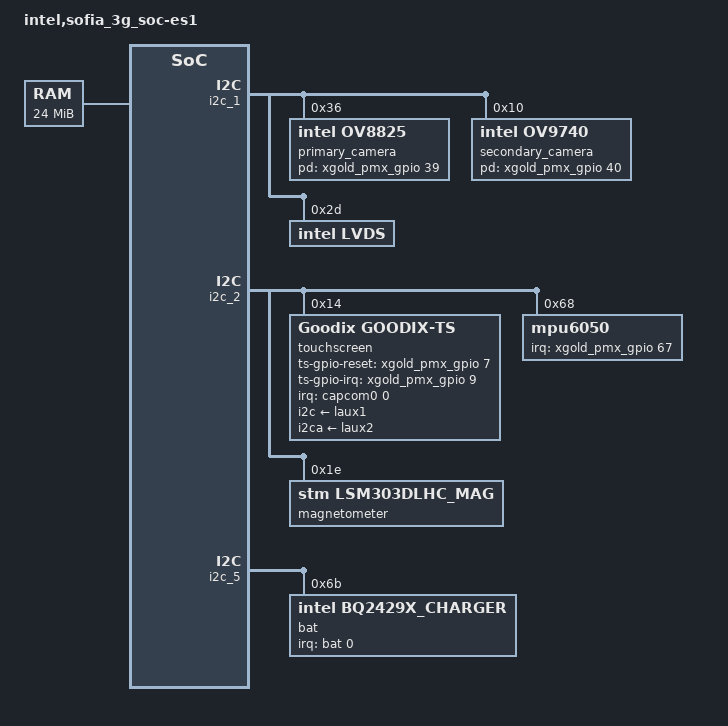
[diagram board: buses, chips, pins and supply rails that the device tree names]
/dts-v1/;

#include "xgold/sofia_3g_soc/irq.h"

#define SF_3G_TAB
/ {
	#address-cells = <1>;
	#size-cells = <1>;
	model = "intel,sofia_3g_soc-es1";
	compatible = "intel,sofia_3g_soc-svb", "intel,xgold";

	#include "xgold/sofia_3g_soc/sofia_3g_soc.dtsi"
	#include "xgold/sofia_3g_soc/irq.dtsi"
	#include "xgold/sofia_3g_soc/clock-es1.dtsi"
	#include "xgold/sofia_3g_soc/regulator.dtsi"
	#include "xgold/sofia_3g_soc/device-pm-reg.dtsi"

	chosen {
	};

	aliases {
	};

	memory {
		device_type = "memory";
		reg = <0x800000 0x1800000>;
	};

	cpufreq {
		compatible = "intel,xgold-cpufreq";
		clocks = <&clk_cpu>,<&MUX_CPU>,<&B_0_1>,<&G_0_1>;
		clock-names = "core","mux","pll","bank";
		intel,cpufreq-table = <208000 416000 728000>;
/*		intel,cpufreq-table = <208000 312000 416000>;*/
	};

	ion {
		compatible = "intel,ion";

		carveout-heap {
			intel,heapmem = <   0x2D000000 0x02000000 >;
		};
		cma-heap {
			intel,heapmem = <   0x00000000 0x08000000 >;
		};
	};

	backlight:backlight {
		compatible = "intel,led-bl";
		reg = <0xE6501800 0x154>;
		intel,flags-use-safe-ctrl;
		pm,class-name = "bl_class";
		pm,user-name = "bl";
		pm,state-D0 = "enable";
		pm,state-D3 = "disable";
	};

	lcd:lcd {
		compatible = "intel,lcd";
	};

	graphics {
		compatible = "intel,graphics";
		intel,dcc-mem = < 0x00200000 >;
		intel,gpu-shared-mem = <0x20000000>;
		intel,dcc-fbpixelformat= "RGB888";
		intel,dcc-debug-level = <1>;
		intel,dcc-use-vsync = <0>;
		intel,display-preinit = <1>;
		intel,display-ramless = <1>;
		intel,display-if = <&mipi_dsi>;
		intel,display-fps = <60>;
		intel,display-if-rate = <598000000>;
		/include/ "xgold/display/lsl070nl01.dtsi"
		mipi_dsi:mipi-dsi {
				intel,display-if-min = <104000000>;
				intel,display-if-max = <780000000>;
				intel,display-if-nblanes = <2>;
				intel,display-if-phy-pwup = <6>;
				intel,display-if-phy-calib = <3>;
				intel,display-if-phy-to_lp_hs_req = <0x18>;
				intel,display-if-phy-to_lp_hs_dis = <0x20>;
				intel,display-if-phy-to_lp_hs_eot = <0x2E>;
				intel,display-if-phy-to_hs_zero = <4>;
				intel,display-if-phy-to_hs_flip = <0x18>;
				intel,display-if-phy-lp_clk_div = <0x1F>;
				intel,display-if-phy-to_hs_clk_pre = <0x24>;
				intel,display-if-phy-to_hs_clk_post = <0x2A>;
				intel,display-if-phy-data_delay = <7>;
				intel,display-if-phy-clock_delay = <7>;
				intel,display-if-phy-lp_tx_tfall = <2>;
				intel,display-if-phy-lp_tx_rise = <2>;
				intel,display-if-phy-lp_tx_vref = <4>;
		};
	};

	sound {
		compatible = "intel,xgold-snd-asoc";
		intel,audio-codec = < &afe >;
		intel,pcm-audio = <&pcm_music>;
		intel,pcm-voice = <&pcm_voice>;
		intel,speech = <&speech_probe>;
	};

};

&idi_per {
	#include "xgold/agold620/agold620.dtsi"
};

&dcc {
	pinctrl-names = "default", "sleep", "inactive";
	pinctrl-0 = <&dif_default_pins>;
	pinctrl-1 = <&dif_sleep_pins>;
	pinctrl-2 = <&dif_inactive_pins>;

	intel,dcc-gpio-reset = <&xgold_pmx_gpio 72>;
};

&usif1 {
	pinctrl-names = "default", "sleep", "inactive";
	pinctrl-0 = <&usif1_default_pins>;
	pinctrl-1 = <&usif1_sleep_pins>;
	pinctrl-2 = <&usif1_inactive_pins>;
};

&usif2 {
	pinctrl-names = "default", "sleep", "inactive";
	pinctrl-0 = <&usif2_function_B_active_pins>;
	pinctrl-1 = <&usif2_function_B_sleep_pins>;
	pinctrl-2 = <&usif2_function_B_inactive_pins>;
};

&i2c_1 {
	pinctrl-names = "default", "sleep", "inactive";
	pinctrl-0 = <&i2c1_default_pins>;
	pinctrl-1 = <&i2c1_sleep_pins>;
	pinctrl-2 = <&i2c1_inactive_pins>;

	primary_camera {
		compatible = "intel,ov8825";
		reg = < 0x36 >;

		pinctrl-names = "default", "sleep", "inactive";
		pinctrl-0 = <&cam1_default_pins>;
		pinctrl-1 = <&cam1_sleep_pins>;
		pinctrl-2 = <&cam1_inactive_pins>;

		intel,pd-gpio = <&xgold_pmx_gpio 39>;
		intel,pd-is_active_low;

		pm,class-name = "generic_class";
		pm,user-name = "primcam";
		pm,state-D0 = "enable";
		pm,state-D3 = "disable";
	};

	secondary_camera {
		compatible = "intel,ov9740";
		reg = < 0x10 >;

		pinctrl-names = "default", "sleep", "inactive";
		pinctrl-0 = <&cam2_default_pins>;
		pinctrl-1 = <&cam2_sleep_pins>;
		pinctrl-2 = <&cam2_inactive_pins>;

		intel,pd-gpio = <&xgold_pmx_gpio 40>;

		pm,class-name = "generic_class";
		pm,user-name = "seccam";
		pm,state-D0 = "enable";
		pm,state-D3 = "disable";
	};

	lvds:icn6201 {
		compatible = "intel,lvds";
		reg = < 0x2D >;

		lvds,init-code = <
			0x20 0x00
			0x21 0x58
			0x22 0x24
			0x23 0xb4
			0x24 0x28
			0x25 0xb6
			0x26 0x00
			0x27 0x0a
			0x28 0x0a
			0x29 0x0b
			0x34 0x80
			0x36 0xb4
			0x86 0x29
			0xB5 0xA0
			0x5C 0xFF
			0x13 0x10
			0x56 0x92
			0x6B 0x32
			0x69 0x29
			0xB6 0x20
			0x51 0x20
			0x09 0x10
		>;
	};

};

&i2c_2 {
	pinctrl-names = "default", "sleep", "inactive";
	pinctrl-0 = <&i2c2_default_pins>;
	pinctrl-1 = <&i2c2_sleep_pins>;
	pinctrl-2 = <&i2c2_inactive_pins>;

	touchscreen {
		compatible = "Goodix,Goodix-TS";
		reg = < 0x14 >;
		interrupt-parent = <&capcom0>;
		interrupts = < 0 XGOLD_IRQ_TYPE_EDGE_FALLING >;
		pinctrl-names = "default", "sleep", "inactive";
		pinctrl-0 = <&touch_default_pins>;
		pinctrl-1 = <&touch_sleep_pins>;
		pinctrl-2 = <&touch_inactive_pins>;
		intel,ts-gpio-reset = <&xgold_pmx_gpio 7>;
		intel,ts-gpio-irq   = <&xgold_pmx_gpio 9>;
		i2c-supply = <&laux1>;
		i2ca-supply = <&laux2>;
		pm,class-name = "gt9xx_class";
		pm,user-name = "tp";
		pm,state-D0 = "enable";
		pm,state-D3 = "disable";
	};
	mpu6050 {
		compatible = "mpu6050";
		reg = <0x68>;
		mpu-int_config = <0x10>;
		mpu-level_shifter = <0>;
		mpu-orientation = <1 0 0 0 1 0 0 0 1>;
		orientation-x= <0>;
		orientation-y= <0>;
		orientation-z= <1>;
		irq-gpio = <&xgold_pmx_gpio 67>;
		mpu-debug = <0>;
		pm,class-name = "mpu6050_class";
		pm,user-name = "gyroscope";
		pm,state-D0 = "enable";
		pm,state-D3 = "disable";
        };
	ak8963 {
		compatible = "ak8963";
		reg = <0x0d>;
		compass-bus = <0>;
		compass-adapt_num = <0>;
		compass-orientation = <0 1 0 1 0 0 0 0 1>;
		orientation-x= <0>;
		orientation-y= <0>;
		orientation-z= <1>;
		compass-debug = <0>;
		status = "disabled";
		pm,class-name = "mpu6050_class";
		pm,user-name = "compass";
		pm,state-D0 = "enable";
		pm,state-D3 = "disable";
        };
	magnetometer {
		compatible = "stm,lsm303dlhc_mag";
		reg = < 0x1e >;
		intel,axis-map = < 0 1 2 >;
		intel,negate = < 0 0 0 >;
		intel,offset = < 0 0 0 >;
		intel,poll-interval = < 100 >;
		pm,class-name = "lsm303dlhc_mag_class";
		pm,user-name = "compass";
		pm,state-D0 = "enable";
		pm,state-D3 = "disable";
	};

};

&i2c_5 {
	pinctrl-names = "default", "sleep", "inactive";
	pinctrl-0 = <&i2c5_agold_default_pins>;
	pinctrl-1 = <&i2c5_agold_sleep_pins>;
	pinctrl-2 = <&i2c5_agold_inactive_pins>;
	bat:battery {
		compatible = "intel,bq2429x_charger";
		reg = < 0x6b >;
		interrupts = < 0 >;
		interrupt-parent = < &bat>;
		#interrupt-cells = < 1 >;
		interrupt-map = < 0 &ag620_pmu ABB_PMU_CI XGOLD_IRQ_TYPE_NONE >; /* CI */
		pinctrl-names = "default", "sleep", "inactive";
		pinctrl-0 = < &chgreset_agold_default_pins >;
		pinctrl-1 = < &chgreset_agold_sleep_pins >;
		pinctrl-2 = < &chgreset_agold_inactive_pins >;
	};
};

&gnss {
	pinctrl-names = "default", "sleep", "inactive";
	pinctrl-0 = <&tcxo_agold_default_pins>;
	pinctrl-1 = <&tcxo_agold_sleep_pins>;
	pinctrl-2 = <&tcxo_agold_inactive_pins>;
};

&backlight {
	pinctrl-names = "default", "sleep", "inactive";
	pinctrl-0 = <&cabc_agold_default_pins>;
	pinctrl-1 = <&cabc_agold_sleep_pins>;
	pinctrl-2 = <&cabc_agold_inactive_pins>;
};

&sd {
	intel,tap_values = <0x080400F5 0x08040004 0x00040004 0x08040004 0x5CF501A5 0x00F500A5 0x00F500A5>;
	pinctrl-names = "default", "sleep", "inactive";
	pinctrl-0 = <&sdmmc_default_pins>;
	pinctrl-1 = <&sdmmc_sleep_pins>;
	pinctrl-2 = <&sdmmc_inactive_pins>;
};

&emmc {
	intel,tap_values = <0x080400F5 0x08040004 0x00040004 0x08040004 0x08040004 0x00040004 0x00040004>;
	pinctrl-names = "default", "sleep", "inactive";
	pinctrl-0 = <&emmc_default_pins>;
	pinctrl-1 = <&emmc_sleep_pins>;
	pinctrl-2 = <&emmc_inactive_pins>;

};

&keypad {
	pinctrl-names = "default", "sleep", "inactive";
	pinctrl-0 = <&kp_default_pins>;
	pinctrl-1 = <&kp_sleep_pins>;
	pinctrl-2 = <&kp_inactive_pins>;
	keypad,num-rows = <3>;
	keypad,num-columns = <8>;
	keypad,rows = <0 2>;
	keypad,columns = <0 1 2>;
	linux,keymap = <0x00000073	/* KEY_VOLUMEUP */
			0x00010066	/* KEY_HOME */
			0x00020000	/* KEY_RESERVED */
			0x00030000	/* KEY_RESERVED */
			0x00040000	/* KEY_RESERVED */
			0x00050000	/* KEY_RESERVED */
			0x00060000	/* KEY_RESERVED */
			0x00070000	/* KEY_RESERVED */
			0x01000000	/* KEY_RESERVED */
			0x01010000	/* KEY_RESERVED */
			0x01020000	/* KEY_RESERVED */
			0x01030000	/* KEY_RESERVED */
			0x01040000	/* KEY_RESERVED */
			0x01050000	/* KEY_RESERVED */
			0x01060000	/* KEY_RESERVED */
			0x01070000	/* KEY_RESERVED */
			0x02000072	/* KEY_VOLUMEDOWN */
			0x02010000	/* KEY_RESERVED */
			0x02020000>;	/* KEY_RESERVED */
};


#include "xgold/agold620/pinctrl-sf_3g-tablet.dtsi"
#include "xgold/sofia_3g_soc/pinctrl-sf_3g-tablet.dtsi"


